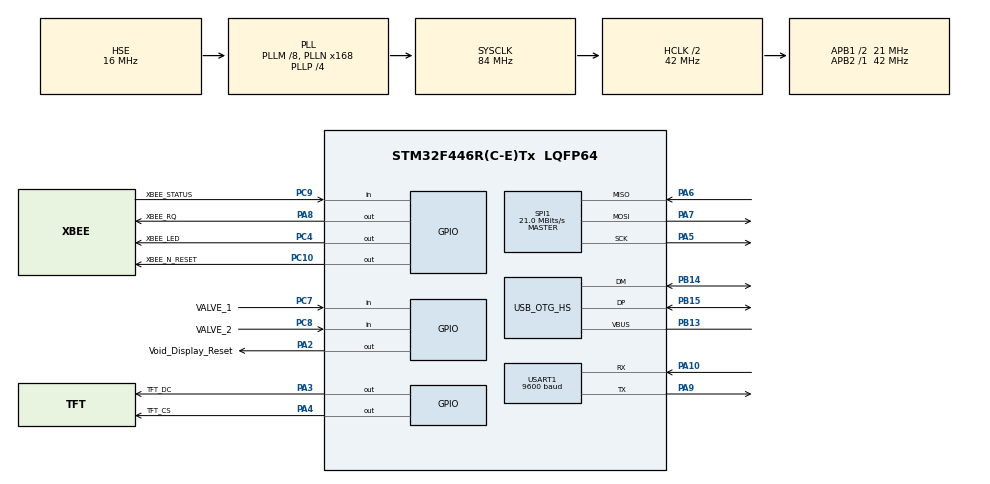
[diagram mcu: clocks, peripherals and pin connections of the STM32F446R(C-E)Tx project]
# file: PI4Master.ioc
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Dma.Request0=SPI1_TX
Dma.SPI1_TX.0.Direction=DMA_MEMORY_TO_PERIPH
Dma.SPI1_TX.0.FIFOMode=DMA_FIFOMODE_DISABLE
Dma.SPI1_TX.0.Instance=DMA2_Stream3
Dma.SPI1_TX.0.MemDataAlignment=DMA_MDATAALIGN_BYTE
Dma.SPI1_TX.0.MemInc=DMA_MINC_ENABLE
Dma.SPI1_TX.0.Mode=DMA_NORMAL
Dma.SPI1_TX.0.PeriphDataAlignment=DMA_PDATAALIGN_BYTE
Dma.SPI1_TX.0.PeriphInc=DMA_PINC_DISABLE
Dma.SPI1_TX.0.Priority=DMA_PRIORITY_LOW
Mcu.Family=STM32F4
Mcu.Name=STM32F446R(C-E)Tx
Mcu.Package=LQFP64
NVIC.DMA2_Stream3_IRQn=true\:0\:0\:false\:false\:true\:false\:true\:true
NVIC.OTG_HS_IRQn=true\:0\:0\:false\:false\:true\:false\:true\:true
NVIC.PriorityGroup=NVIC_PRIORITYGROUP_0
NVIC.SPI1_IRQn=true\:0\:0\:false\:false\:true\:true\:true\:true
NVIC.TIM1_UP_TIM10_IRQn=true\:0\:0\:false\:false\:true\:true\:true\:true
NVIC.USART1_IRQn=true\:0\:0\:false\:false\:true\:true\:true\:true
PA10.Mode=Asynchronous
PA10.Signal=USART1_RX
PA13.Mode=Serial_Wire
PA13.Signal=SYS_JTMS-SWDIO
PA14.Mode=Serial_Wire
PA14.Signal=SYS_JTCK-SWCLK
PA2.GPIO_Label=Void_Display_Reset
PA2.Signal=GPIO_Output
PA3.GPIO_Label=TFT_DC
PA3.Signal=GPIO_Output
PA4.GPIO_Label=TFT_CS
PA4.Signal=GPIO_Output
PA5.Mode=Full_Duplex_Master
PA5.Signal=SPI1_SCK
PA6.Mode=Full_Duplex_Master
PA6.Signal=SPI1_MISO
PA7.Mode=Full_Duplex_Master
PA7.Signal=SPI1_MOSI
PA8.GPIO_Label=XBEE_RQ
PA8.Signal=GPIO_Output
PA9.Mode=Asynchronous
PA9.Signal=USART1_TX
PB13.Mode=Activate_VBUS_FS
PB13.Signal=USB_OTG_HS_VBUS
PB14.Mode=Device_Only_FS
PB14.Signal=USB_OTG_HS_DM
PB15.Mode=Device_Only_FS
PB15.Signal=USB_OTG_HS_DP
PC10.GPIO_Label=XBEE_N_RESET
PC10.Signal=GPIO_Output
PC4.GPIO_Label=XBEE_LED
PC4.Signal=GPIO_Output
PC7.GPIO_Label=VALVE_1
PC7.GPIO_PuPd=GPIO_PULLDOWN
PC7.Signal=GPIO_Input
PC8.GPIO_Label=VALVE_2
PC8.GPIO_PuPd=GPIO_PULLDOWN
PC8.Signal=GPIO_Input
PC9.GPIO_Label=XBEE_STATUS
PC9.Signal=GPIO_Input
PH0-OSC_IN.Mode=HSE-External-Oscillator
PH0-OSC_IN.Signal=RCC_OSC_IN
PH1-OSC_OUT.Mode=HSE-External-Oscillator
PH1-OSC_OUT.Signal=RCC_OSC_OUT
ProjectManager.HeapSize=0x200
ProjectManager.StackSize=0x400
ProjectManager.TargetToolchain=STM32CubeIDE
RCC.AHBCLKDivider=RCC_SYSCLK_DIV2
RCC.AHBFreq_Value=42000000
RCC.APB1CLKDivider=RCC_HCLK_DIV2
RCC.APB1Freq_Value=21000000
RCC.APB1TimFreq_Value=42000000
RCC.APB2Freq_Value=42000000
RCC.APB2TimFreq_Value=42000000
RCC.CortexFreq_Value=42000000
RCC.HCLKFreq_Value=42000000
RCC.HSE_VALUE=16000000
RCC.PLLM=8
RCC.PLLN=168
RCC.PLLP=RCC_PLLP_DIV4
RCC.PLLQ=7
RCC.PLLSourceVirtual=RCC_PLLSOURCE_HSE
RCC.SYSCLKFreq_VALUE=84000000
RCC.SYSCLKSource=RCC_SYSCLKSOURCE_PLLCLK
RCC.USBFreq_Value=48000000
RCC.VCOOutputFreq_Value=336000000
SPI1.BaudRatePrescaler=SPI_BAUDRATEPRESCALER_2
SPI1.CalculateBaudRate=21.0 MBits/s
SPI1.Direction=SPI_DIRECTION_2LINES
SPI1.Mode=SPI_MODE_MASTER
SPI1.VirtualType=VM_MASTER
TIM1.AutoReloadPreload=TIM_AUTORELOAD_PRELOAD_ENABLE
TIM1.Period=2000
TIM1.Prescaler=8399
USART1.BaudRate=9600
USART1.VirtualMode=VM_ASYNC
USB_DEVICE.CLASS_NAME_HS=CDC
USB_DEVICE.VirtualMode-CDC_HS=Cdc
USB_DEVICE.VirtualModeHS=Cdc_HS
USB_OTG_HS.VirtualMode-Device_Only_FS=Device_Only_FS
VP_TIM1_VS_ClockSourceINT.Mode=Internal
VP_USB_DEVICE_VS_USB_DEVICE_CDC_HS.Mode=CDC_HS
board=custom

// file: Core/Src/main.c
/* USER CODE BEGIN Header */
/**
  ******************************************************************************
  * @file           : main.c
  * @brief          : Main program body
  ******************************************************************************
  * @attention
  *
  * Copyright (c) 2023 STMicroelectronics.
  * All rights reserved.
  *
  * This software is licensed under terms that can be found in the LICENSE file
  * in the root directory of this software component.
  * If no LICENSE file comes with this software, it is provided AS-IS.
  *
  ******************************************************************************
  */
/* USER CODE END Header */
#include "main.h"
#include "dma.h"
#include "spi.h"
#include "tim.h"
#include "usart.h"
#include "usb_device.h"
#include "gpio.h"

/* USER CODE BEGIN Includes */
#include "ili9341.h"
#include "ili9341_gfx.h"
#include "XbeeRF.h"
#include "RF_Reception.h"
#include <string.h>

/* USER CODE END Includes */

/* USER CODE BEGIN PV */

static volatile int valve_1 = 1;
static volatile int valve_2 = 1;
ili9341_t *_screen;
static Xbee_message_receive receive_msg;
uint8_t rx_msg_buf[sizeof(Xbee_message_receive)];
volatile bool got_data = false;
volatile bool update_display = false;
static uint8_t old_valves = 0xFF;  // 0xFF so it draws on first run
static float old_pression = -999.0f;  // impossible initial value
/* USER CODE END PV */

void SystemClock_Config(void);

/* USER CODE BEGIN 0 */

Xbee_Message send_msg;
volatile static bool new_rf_message = false;
/* USER CODE END 0 */

int main(void)
{

  /* MCU Configuration--------------------------------------------------------*/

  /* Reset of all peripherals, Initializes the Flash interface and the Systick. */
  HAL_Init();

  /* Configure the system clock */
  SystemClock_Config();

  /* Initialize all configured peripherals */
  MX_GPIO_Init();
  MX_DMA_Init();
  MX_SPI1_Init();
  MX_USART1_UART_Init();
  MX_USB_DEVICE_Init();
  MX_TIM1_Init();
  /* USER CODE BEGIN 2 */

  HAL_TIM_Base_Start_IT(&htim1);
  //XBeeRF_Init();
  //send_msg.start_char = 0xFEEDCAFE;
  //send_msg.end_char = 0xBEEFCACA;

  _screen = ili9341_new(
      &hspi1,
      Void_Display_Reset_GPIO_Port, Void_Display_Reset_Pin,
      TFT_CS_GPIO_Port, TFT_CS_Pin,
      TFT_DC_GPIO_Port, TFT_DC_Pin,
      isoLandscapeFlip,
      NULL, NULL,
      NULL, NULL,
      itsNotSupported,
      itnNormalized);

  ili9341_fill_screen(_screen, ILI9341_BLACK);

  // === Static layout (drawn once) ===

  // --- Top section: Pressure ---
  ili9341_text_attr_t title_attr = {&ili9341_font_16x26, ILI9341_WHITE, ILI9341_BLACK, 112, 10};
  ili9341_draw_string(_screen, title_attr, "Pression");

  // Pressure value placeholder (will update in loop if needed)

  // --- Horizontal separator ---
  ili9341_fill_rect(_screen, ILI9341_WHITE, 0, 85, 320, 2);

  // --- Vertical separator ---
  ili9341_fill_rect(_screen, ILI9341_WHITE, 159, 85, 2, 155);

  // --- Valve 1 label ---
  ili9341_text_attr_t v1_title = {&ili9341_font_11x18, ILI9341_WHITE, ILI9341_BLACK, 28, 95};
  ili9341_draw_string(_screen, v1_title, "Valve 1");

  // --- Valve 2 label ---
  ili9341_text_attr_t v2_title = {&ili9341_font_11x18, ILI9341_WHITE, ILI9341_BLACK, 190, 95};
  ili9341_draw_string(_screen, v2_title, "Valve 2");

  ili9341_fill_circle(_screen, ILI9341_YELLOW, 120, 104, 7);
  ili9341_fill_circle(_screen, ILI9341_YELLOW, 280, 104, 7);
  int prev_v1 = -1;
  int prev_v2 = -1;

  XBeeRF_Init();
  send_msg.start_char = 0xFEEDCACA;
  send_msg.end_char = 0xBEEFCAFE;
  send_msg.message_send_valve1 = 0X0;
  send_msg.message_send_valve2 = 0x0;
  HAL_UART_Receive_IT(&huart1, rx_msg_buf, sizeof(Xbee_message_receive));

  HAL_GPIO_WritePin(XBEE_N_RESET_GPIO_Port, XBEE_N_RESET_Pin, GPIO_PIN_SET);

  /* USER CODE END 2 */

  /* Infinite loop */
  while (1)
  {

    /* USER CODE BEGIN 3 */

	    int v1 = HAL_GPIO_ReadPin(VALVE_2_GPIO_Port, VALVE_2_Pin);
	    int v2 = HAL_GPIO_ReadPin(VALVE_1_GPIO_Port, VALVE_1_Pin);

	    for(volatile uint32_t i = 0; i < 10000; i++);

	    v1 &= HAL_GPIO_ReadPin(VALVE_2_GPIO_Port, VALVE_2_Pin);
	    v2 &= HAL_GPIO_ReadPin(VALVE_1_GPIO_Port, VALVE_1_Pin);
      valve_1 = v1;
      valve_2 = v2;

//      send_msg.valves = (v2 << 1) | v1;
//      XBeeRF_Task();

      int v1_changed = (v1 != prev_v1);
      int v2_changed = (v2 != prev_v2);

      if(v1_changed)
      {

          prev_v1 = v1;
          ili9341_color_t color = v1 ? ILI9341_GREEN : ILI9341_RED;

          // Clear ON/OFF zone
          ili9341_fill_rect(_screen, ILI9341_BLACK, 15, 130, 130, 95);

          // Draw border rectangle
          ili9341_draw_rect(_screen, color, 20, 135, 120, 85);
          ili9341_draw_rect(_screen, color, 21, 136, 118, 83);

          // Draw ON or OFF centered in box
          ili9341_text_attr_t v1_state = {&ili9341_font_16x26, color, ILI9341_BLACK, 0, 160};
          if(v1) {
              v1_state.origin_x = 56;
              ili9341_draw_string(_screen, v1_state, "ON");
              send_msg.message_send_valve1 = 0xFFFFFFFF;
          } else {
              v1_state.origin_x = 48;
              ili9341_draw_string(_screen, v1_state, "OFF");
              send_msg.message_send_valve1 = 0x00000000;
          }
      }

      if(v2_changed)
      {
          prev_v2 = v2;
          ili9341_color_t color = v2 ? ILI9341_GREEN : ILI9341_RED;

          // Clear ON/OFF zone
          ili9341_fill_rect(_screen, ILI9341_BLACK, 175, 130, 130, 95);

          // Draw border rectangle
          ili9341_draw_rect(_screen, color, 180, 135, 120, 85);
          ili9341_draw_rect(_screen, color, 181, 136, 118, 83);

          // Draw ON or OFF centered in box
          ili9341_text_attr_t v2_state = {&ili9341_font_16x26, color, ILI9341_BLACK, 0, 160};
          if(v2) {
              v2_state.origin_x = 216;
              ili9341_draw_string(_screen, v2_state, "ON");
              send_msg.message_send_valve2 = 0xFFFFFFFF;
          } else {
              v2_state.origin_x = 208;
              ili9341_draw_string(_screen, v2_state, "OFF");
              send_msg.message_send_valve2 = 0x00000000;
          }
      }

     // printf("%d\n\r", got_data);
      if (update_display)
      {
          update_display = false;
          switch (receive_msg.valves)
          {

              case 0x00:
            	 if(old_valves == 0x00)break;
                  ili9341_fill_circle(_screen, ILI9341_RED, 120, 104, 7);
                  ili9341_fill_circle(_screen, ILI9341_RED, 280, 104, 7);
                  old_valves = receive_msg.valves;
                  break;

              case 0x01:
            	  if(old_valves == 0x01)break;
                  ili9341_fill_circle(_screen, ILI9341_GREEN, 120, 104, 7);
                  ili9341_fill_circle(_screen, ILI9341_RED,   280, 104, 7);
                  old_valves = receive_msg.valves;
                  break;

              case 0x02:
            	  if(old_valves == 0x02)break;
                  ili9341_fill_circle(_screen, ILI9341_RED,   120, 104, 7);
                  ili9341_fill_circle(_screen, ILI9341_GREEN, 280, 104, 7);
                  old_valves = receive_msg.valves;
                  break;

              case 0x03:
            	  if(old_valves == 0x03)break;
                  ili9341_fill_circle(_screen, ILI9341_GREEN, 120, 104, 7);
                  ili9341_fill_circle(_screen, ILI9341_GREEN, 280, 104, 7);
                  old_valves = receive_msg.valves;
                  break;

              default:
                  ili9341_fill_circle(_screen, ILI9341_YELLOW, 120, 104, 7);
                  ili9341_fill_circle(_screen, ILI9341_YELLOW, 280, 104, 7);
                  break;
          }
      }
      if (got_data)
      {
          got_data = false;

          if (receive_msg.start_receive == 0xCACAFEED &&
              receive_msg.fin_receive   == 0xCAFEBEEF)
          {
              printf("=== Valid Message ===\r\n");
              printf("Start:    0x%08lX\r\n", (unsigned long)receive_msg.start_receive);
              int int_part = (int)receive_msg.pression;
              int dec_part = abs((int)(receive_msg.pression * 100) % 100);
              printf("Pression: %d.%02d\r\n", int_part, dec_part);
              printf("Valves:   0x%02X\r\n",  receive_msg.valves);
              printf("End:      0x%08lX\r\n", (unsigned long)receive_msg.fin_receive);

              // Clear both indicator circles first (black filled circle to erase)
              if (receive_msg.pression != old_pression)
              {
                  old_pression = receive_msg.pression;

                  char press_str[16];
                  int p_int = (int)receive_msg.pression;
                  int p_dec = abs((int)(receive_msg.pression * 100) % 100);
                  sprintf(press_str, "%d.%02d Pa", p_int, p_dec);

                  ili9341_fill_rect(_screen, ILI9341_BLACK, 0, 45, 320, 30);

                  int len = strlen(press_str);
                  int x_pos = (320 - (len * 16)) / 2;
                  ili9341_text_attr_t press_attr = {&ili9341_font_16x26, ILI9341_CYAN, ILI9341_BLACK, x_pos, 45};
                  ili9341_draw_string(_screen, press_attr, press_str);
              }
          }
          else
          {
              printf("=== Invalid Message ===\r\n");
              printf("Raw: ");
              for (uint32_t i = 0; i < sizeof(Xbee_message_receive); i++)
                  printf("%02X ", rx_msg_buf[i]);
              printf("\r\n");
          }
      }

  }
  /* USER CODE END 3 */
}

void SystemClock_Config(void)
{
  RCC_OscInitTypeDef RCC_OscInitStruct = {0};
  RCC_ClkInitTypeDef RCC_ClkInitStruct = {0};

  /** Configure the main internal regulator output voltage
  */
  __HAL_RCC_PWR_CLK_ENABLE();
  __HAL_PWR_VOLTAGESCALING_CONFIG(PWR_REGULATOR_VOLTAGE_SCALE3);

  /** Initializes the RCC Oscillators according to the specified parameters
  * in the RCC_OscInitTypeDef structure.
  */
  RCC_OscInitStruct.OscillatorType = RCC_OSCILLATORTYPE_HSE;
  RCC_OscInitStruct.HSEState = RCC_HSE_ON;
  RCC_OscInitStruct.PLL.PLLState = RCC_PLL_ON;
  RCC_OscInitStruct.PLL.PLLSource = RCC_PLLSOURCE_HSE;
  RCC_OscInitStruct.PLL.PLLM = 8;
  RCC_OscInitStruct.PLL.PLLN = 168;
  RCC_OscInitStruct.PLL.PLLP = RCC_PLLP_DIV4;
  RCC_OscInitStruct.PLL.PLLQ = 7;
  RCC_OscInitStruct.PLL.PLLR = 2;
  if (HAL_RCC_OscConfig(&RCC_OscInitStruct) != HAL_OK)
  {
    Error_Handler();
  }

  /** Initializes the CPU, AHB and APB buses clocks
  */
  RCC_ClkInitStruct.ClockType = RCC_CLOCKTYPE_HCLK|RCC_CLOCKTYPE_SYSCLK
                              |RCC_CLOCKTYPE_PCLK1|RCC_CLOCKTYPE_PCLK2;
  RCC_ClkInitStruct.SYSCLKSource = RCC_SYSCLKSOURCE_PLLCLK;
  RCC_ClkInitStruct.AHBCLKDivider = RCC_SYSCLK_DIV2;
  RCC_ClkInitStruct.APB1CLKDivider = RCC_HCLK_DIV2;
  RCC_ClkInitStruct.APB2CLKDivider = RCC_HCLK_DIV1;

  if (HAL_RCC_ClockConfig(&RCC_ClkInitStruct, FLASH_LATENCY_1) != HAL_OK)
  {
    Error_Handler();
  }
}

/* USER CODE BEGIN 4 */

void HAL_UART_RxCpltCallback(UART_HandleTypeDef *huart)
{
    if (huart->Instance == USART1)
    {
        memcpy(&receive_msg, rx_msg_buf, sizeof(Xbee_message_receive));
        got_data = true;
        HAL_UART_Receive_IT(&huart1, rx_msg_buf, sizeof(Xbee_message_receive));
    }
}

void HAL_TIM_PeriodElapsedCallback(TIM_HandleTypeDef *htim){
    if(htim->Instance == TIM1)
    {
        XBeeRF_Task();
        update_display = true;
    }
}

#include "usbd_cdc_if.h"
int _write(int file, char *ptr, int len)
{

    CDC_Transmit_HS((uint8_t *)ptr, len);
    return len;
}

/* USER CODE END 4 */

void Error_Handler(void)
{
  __disable_irq();
  while (1)
  {
  }
}
